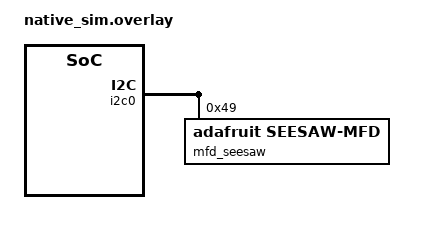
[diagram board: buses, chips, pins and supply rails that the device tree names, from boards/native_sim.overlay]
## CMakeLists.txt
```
cmake_minimum_required(VERSION 3.20.0)
find_package(Zephyr REQUIRED HINTS $ENV{ZEPHYR_BASE})
project(device)

FILE(GLOB app_sources src/*.c)
target_sources(app PRIVATE ${app_sources})

zephyr_include_directories(./src)
zephyr_include_directories(${ZEPHYR_DRIVERS_REPO_ROOT}/drivers/mfd/seesaw)
```

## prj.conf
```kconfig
CONFIG_ZTEST=y
CONFIG_EMUL=y

CONFIG_I2C_EMUL=y
CONFIG_I2C_LOG_LEVEL_DBG=y

CONFIG_CBPRINTF_FP_SUPPORT=y
```

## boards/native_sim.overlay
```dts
#include <zephyr/dt-bindings/led/led.h>

&i2c0 {
	status = "okay";

	mfd_seesaw: seesaw@49 {
		compatible = "adafruit,seesaw-mfd";
		reg = <0x49>;
		read-delay-us = <0>;
		status = "okay";

		gpio_child: gpio {
			compatible = "adafruit,seesaw-gpio";
			gpio-controller;
			#gpio-cells = <2>;
			ngpios = <16>;
		};

		adc_child: adc {
			compatible = "adafruit,seesaw-adc";
			#io-channel-cells = <1>;
		};

		pwm_child: pwm {
			compatible = "adafruit,seesaw-pwm";
			#pwm-cells = <3>;
		};

		led_child: neopixel {
			compatible = "adafruit,seesaw-neopixel";
			chain-length = <4>;
			color-mapping = <LED_COLOR_ID_GREEN LED_COLOR_ID_RED LED_COLOR_ID_BLUE>;
			seesaw-pin = <14>;
			frequency = <800000>;
		};

		encoder_child: encoder {
			compatible = "adafruit,seesaw-encoder";
		};
	};
};
```

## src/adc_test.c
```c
#ifdef CONFIG_ADC_ADAFRUIT_SEESAW

#include <zephyr/device.h>
#include <zephyr/drivers/adc.h>
#include <zephyr/drivers/emul.h>
#include <zephyr/ztest.h>

#include "seesaw_emul.h"

#define ADC_NODE DT_NODELABEL(adc_child)

static const struct device *const adc_dev = DEVICE_DT_GET(ADC_NODE);

ZTEST(adc_seesaw, test_ready)
{
	zassert_true(device_is_ready(adc_dev));
}

ZTEST(adc_seesaw, test_channel_setup_accepts_in_range)
{
	struct adc_channel_cfg cfg = {
		.gain = ADC_GAIN_1,
		.reference = ADC_REF_INTERNAL,
		.acquisition_time = ADC_ACQ_TIME_DEFAULT,
		.channel_id = 0,
	};

	zassert_ok(adc_channel_setup(adc_dev, &cfg));
	cfg.channel_id = 18;
	zassert_ok(adc_channel_setup(adc_dev, &cfg));
	/* channel_id is a 5-bit field (0..31); verify the maximum fits */
	cfg.channel_id = 31;
	zassert_ok(adc_channel_setup(adc_dev, &cfg));
}

ZTEST(adc_seesaw, test_channel_setup_rejects_differential)
{
	struct adc_channel_cfg cfg = {
		.gain = ADC_GAIN_1,
		.reference = ADC_REF_INTERNAL,
		.acquisition_time = ADC_ACQ_TIME_DEFAULT,
		.channel_id = 0,
		.differential = 1,
	};

	zassert_equal(adc_channel_setup(adc_dev, &cfg), -ENOTSUP);
}

ZTEST(adc_seesaw, test_read_returns_seeded_value)
{
	const struct emul *target = EMUL_DT_GET(DT_PARENT(ADC_NODE));
	struct adc_channel_cfg cfg = {
		.gain = ADC_GAIN_1,
		.reference = ADC_REF_INTERNAL,
		.acquisition_time = ADC_ACQ_TIME_DEFAULT,
		.channel_id = 3,
	};

	zassert_not_null(target);
	zassert_ok(adc_channel_setup(adc_dev, &cfg));

	/* SAMD09: logical channel 3 (pin 5) -> reg = ADC_BASE(0x09) | (0x07+3) = 0x090A. */
	zassert_ok(mfd_seesaw_mock_set_register(target->data, (0x09 << 8) | (0x07 + 3), 0x02AB));

	uint16_t sample = 0;
	const struct adc_sequence seq = {
		.channels = BIT(3),
		.buffer = &sample,
		.buffer_size = sizeof(sample),
		.resolution = 10,
	};

	zassert_ok(adc_read(adc_dev, &seq));
	zassert_equal(sample, 0x02AB, "expected 0x02AB, got 0x%04x", sample);
}

/* The SAMD09 firmware indexes its ADC result registers by ADC input (0..3),
 * not by GPIO pin (2..5): Adafruit_seesaw::analogRead() maps pin 2 to offset
 * 0. Reading OFFSET + pin returns another input's (or no) sample.
 */
ZTEST(adc_seesaw, test_samd09_channel_is_register_offset)
{
	const struct emul *target = EMUL_DT_GET(DT_PARENT(ADC_NODE));
	struct adc_channel_cfg cfg = {
		.gain = ADC_GAIN_1,
		.reference = ADC_REF_INTERNAL,
		.acquisition_time = ADC_ACQ_TIME_DEFAULT,
		.channel_id = 0,
	};

	zassert_ok(adc_channel_setup(adc_dev, &cfg));
	zassert_ok(mfd_seesaw_mock_set_register(target->data, (0x09 << 8) | (0x07 + 0), 0x0111));
	zassert_ok(mfd_seesaw_mock_set_register(target->data, (0x09 << 8) | (0x07 + 2), 0x0222));

	uint16_t sample = 0;
	const struct adc_sequence seq = {
		.channels = BIT(0),
		.buffer = &sample,
		.buffer_size = sizeof(sample),
		.resolution = 10,
	};

	zassert_ok(adc_read(adc_dev, &seq));
	zassert_equal(sample, 0x0111, "expected input 0's sample 0x0111, got 0x%04x", sample);
}

ZTEST(adc_seesaw, test_high_channel_id_not_truncated)
{
	struct adc_channel_cfg cfg = {
		.gain = ADC_GAIN_1,
		.reference = ADC_REF_INTERNAL,
		.acquisition_time = ADC_ACQ_TIME_DEFAULT,
		.channel_id = 18,
	};

	zassert_ok(adc_channel_setup(adc_dev, &cfg));

	uint16_t sample = 0;
	const struct adc_sequence seq = {
		.channels = BIT(18),
		.buffer = &sample,
		.buffer_size = sizeof(sample),
		.resolution = 10,
	};
	/* On the SAMD09 emul, channel 18 has no pin mapping, so the underlying
	 * read returns -EINVAL. With the uint32_t fix, this error propagates
	 * back to the caller. With the old uint8_t bug, BIT(18) was truncated
	 * to 0 and adc_read returned 0 with sample == 0.
	 */
	int ret = adc_read(adc_dev, &seq);

	zassert_equal(ret, -EINVAL,
		      "expected -EINVAL from chan 18 on SAMD09, got %d (sample=0x%04x)", ret,
		      sample);
}

ZTEST_SUITE(adc_seesaw, NULL, NULL, NULL, NULL, NULL);

#endif /* CONFIG_ADC_ADAFRUIT_SEESAW */
```

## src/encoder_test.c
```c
#ifdef CONFIG_ADAFRUIT_SEESAW_ENCODER

#include <zephyr/device.h>
#include <zephyr/drivers/emul.h>
#include <zephyr/drivers/sensor.h>
#include <zephyr/ztest.h>

#include "seesaw_emul.h"

#define ENC_NODE DT_NODELABEL(encoder_child)

static const struct device *const enc = DEVICE_DT_GET(ENC_NODE);

ZTEST(seesaw_encoder, test_ready)
{
	zassert_true(device_is_ready(enc));
}

ZTEST(seesaw_encoder, test_fetch_and_get_seeded_position)
{
	const struct emul *target = EMUL_DT_GET(DT_PARENT(ENC_NODE));
	struct sensor_value v;

	zassert_not_null(target);

	/* Seed the encoder position register with a signed value (e.g. -42). */
	zassert_ok(mfd_seesaw_mock_set_register(
		target->data, (0x11 << 8) | 0x04 /* ENCODER_BASE, POSITION */, (uint32_t)-42));

	zassert_ok(sensor_sample_fetch(enc));
	zassert_ok(sensor_channel_get(enc, SENSOR_CHAN_ROTATION, &v));
	zassert_equal(v.val1, -42, "expected position -42, got %d", v.val1);
	zassert_equal(v.val2, 0);
}

ZTEST(seesaw_encoder, test_fetch_and_get_positive_position)
{
	const struct emul *target = EMUL_DT_GET(DT_PARENT(ENC_NODE));
	struct sensor_value v;

	zassert_not_null(target);

	zassert_ok(mfd_seesaw_mock_set_register(
		target->data, (0x11 << 8) | 0x04 /* ENCODER_BASE, POSITION */, 1234U));

	zassert_ok(sensor_sample_fetch(enc));
	zassert_ok(sensor_channel_get(enc, SENSOR_CHAN_ROTATION, &v));
	zassert_equal(v.val1, 1234, "expected position 1234, got %d", v.val1);
	zassert_equal(v.val2, 0);
}

ZTEST(seesaw_encoder, test_sample_fetch_rejects_unsupported_chan)
{
	zassert_equal(sensor_sample_fetch_chan(enc, SENSOR_CHAN_AMBIENT_TEMP), -ENOTSUP);
}

ZTEST(seesaw_encoder, test_channel_get_rejects_other_channels)
{
	struct sensor_value v;
	zassert_ok(sensor_sample_fetch(enc));
	zassert_equal(sensor_channel_get(enc, SENSOR_CHAN_AMBIENT_TEMP, &v), -ENOTSUP);
}

ZTEST_SUITE(seesaw_encoder, NULL, NULL, NULL, NULL, NULL);

#endif /* CONFIG_ADAFRUIT_SEESAW_ENCODER */
```

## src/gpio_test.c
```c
#ifdef CONFIG_GPIO_ADAFRUIT_SEESAW

#include <zephyr/device.h>
#include <zephyr/drivers/emul.h>
#include <zephyr/drivers/gpio.h>
#include <zephyr/ztest.h>

#include "seesaw_emul.h"

#define GPIO_NODE DT_NODELABEL(gpio_child)

static const struct device *const gpio = DEVICE_DT_GET(GPIO_NODE);

ZTEST(gpio_seesaw, test_ready)
{
	zassert_true(device_is_ready(gpio));
}

ZTEST(gpio_seesaw, test_configure_output)
{
	zassert_ok(gpio_pin_configure(gpio, 4, GPIO_OUTPUT_INACTIVE));
}

ZTEST(gpio_seesaw, test_set_clear_propagates_to_emul)
{
	const struct emul *target = EMUL_DT_GET(DT_PARENT(GPIO_NODE));
	uint32_t reg_val = 0;

	zassert_not_null(target);
	zassert_ok(gpio_pin_configure(gpio, 4, GPIO_OUTPUT_INACTIVE));

	/* Set pin high → writes BIT(4) to BULK_SET. */
	zassert_ok(gpio_pin_set(gpio, 4, 1));
	zassert_ok(mfd_seesaw_mock_get_register(
		target->data, (0x01 << 8) | 0x05 /* GPIO_BASE,BULK_SET */, &reg_val));
	zassert_equal(reg_val, BIT(4), "BULK_SET register did not contain BIT(4); got 0x%08x",
		      reg_val);

	/* Clear pin → writes BIT(4) to BULK_CLR. */
	zassert_ok(gpio_pin_set(gpio, 4, 0));
	zassert_ok(mfd_seesaw_mock_get_register(
		target->data, (0x01 << 8) | 0x06 /* GPIO_BASE,BULK_CLR */, &reg_val));
	zassert_equal(reg_val, BIT(4), "BULK_CLR register did not contain BIT(4); got 0x%08x",
		      reg_val);
}

ZTEST_SUITE(gpio_seesaw, NULL, NULL, NULL, NULL, NULL);

#endif /* CONFIG_GPIO_ADAFRUIT_SEESAW */
```

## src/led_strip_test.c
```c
#ifdef CONFIG_LED_STRIP_ADAFRUIT_SEESAW

#include <zephyr/device.h>
#include <zephyr/drivers/emul.h>
#include <zephyr/drivers/led_strip.h>
#include <zephyr/ztest.h>

#include "seesaw_emul.h"

#define LED_NODE DT_NODELABEL(led_child)

static const struct device *const led = DEVICE_DT_GET(LED_NODE);

ZTEST(led_strip_seesaw, test_ready)
{
	zassert_true(device_is_ready(led));
}

ZTEST(led_strip_seesaw, test_length)
{
	zassert_equal(led_strip_length(led), 4);
}

ZTEST(led_strip_seesaw, test_init_programmed_speed_pin_and_length)
{
	const struct emul *target = EMUL_DT_GET(DT_PARENT(LED_NODE));
	uint32_t reg_val = 0;

	zassert_not_null(target);

	/* SPEED: 1 for 800 kHz. */
	zassert_ok(mfd_seesaw_mock_get_register(
		target->data, (0x0E << 8) | 0x02 /* NEOPIXEL_BASE, SPEED */, &reg_val));
	zassert_equal(reg_val, 1U, "expected speed=1 (800kHz), got %u", reg_val);

	/* PIN: from overlay, pin 14. */
	zassert_ok(mfd_seesaw_mock_get_register(
		target->data, (0x0E << 8) | 0x01 /* NEOPIXEL_BASE, PIN */, &reg_val));
	zassert_equal(reg_val, 14U, "expected pin=14, got %u", reg_val);

	/* BUF_LENGTH: chain_length * num_colors = 4 * 3 = 12. */
	zassert_ok(mfd_seesaw_mock_get_register(
		target->data, (0x0E << 8) | 0x03 /* NEOPIXEL_BASE, BUF_LENGTH */, &reg_val));
	zassert_equal(reg_val, 12U, "expected buf_length=12, got %u", reg_val);
}

ZTEST(led_strip_seesaw, test_update_rgb_short_chain)
{
	struct led_rgb px[4] = {
		{.r = 0xFFU},
		{.g = 0xFFU},
		{.b = 0xFFU},
		{.r = 0x10U, .g = 0x20U, .b = 0x30U},
	};

	zassert_ok(led_strip_update_rgb(led, px, ARRAY_SIZE(px)));
}

ZTEST_SUITE(led_strip_seesaw, NULL, NULL, NULL, NULL, NULL);

#endif /* CONFIG_LED_STRIP_ADAFRUIT_SEESAW */
```

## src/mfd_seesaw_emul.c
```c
/*
 * Emulator for the Adafruit SeeSaw MFD parent device.
 *
 * The MFD driver (mfd_seesaw.c) performs I2C reads as two separate
 * transactions: a write (register address) followed by a read (data).
 * This emul therefore stores the last-addressed register and serves
 * the value on the subsequent standalone read, unlike the legacy
 * seesaw_emul.c which expects a combined write+read (num_msgs == 2).
 */
#define DT_DRV_COMPAT adafruit_seesaw_mfd

#include <zephyr/device.h>
#include <zephyr/drivers/emul.h>
#include <zephyr/drivers/i2c.h>
#include <zephyr/drivers/i2c_emul.h>
#include <zephyr/logging/log.h>
#include <zephyr/sys/byteorder.h>

#include "mfd_seesaw_regs.h"
#include "seesaw_emul.h"

LOG_MODULE_REGISTER(mfd_seesaw_emul, CONFIG_MFD_ADAFRUIT_SEESAW_LOG_LEVEL);

/* Register ID, size, and value table */
struct mfd_seesaw_reg {
	uint8_t module;
	uint8_t function;
	uint8_t bytes;
	uint32_t value;
};

/* Emulator configuration passed into driver instance */
struct mfd_seesaw_emul_cfg {
	uint16_t addr;
};

struct mfd_seesaw_emul_data {
	struct mfd_seesaw_reg regs[SEESAW_REGISTER_COUNT];
	/* Last register address written (mod<<8 | func), for split write+read */
	int last_reg;
};

static struct mfd_seesaw_reg *mfd_get_register(struct mfd_seesaw_emul_data *data, int reg)
{
	uint8_t mod = reg >> 8;
	uint8_t func = reg & 0xFF;

	for (int i = 0; i < SEESAW_REGISTER_COUNT; i++) {
		if ((data->regs[i].module == mod) && (data->regs[i].function == func)) {
			return &data->regs[i];
		}
	}
	return NULL;
}

int mfd_seesaw_mock_set_register(void *data_ptr, int reg, uint32_t value)
{
	struct mfd_seesaw_reg *reg_ptr = mfd_get_register(data_ptr, reg);

	if (reg_ptr == NULL) {
		return -EINVAL;
	}

	reg_ptr->value = value;
	return 0;
}

int mfd_seesaw_mock_get_register(void *data_ptr, int reg, uint32_t *value_ptr)
{
	struct mfd_seesaw_reg *reg_ptr = mfd_get_register(data_ptr, reg);

	if (reg_ptr == NULL || value_ptr == NULL) {
		return -EINVAL;
	}

	*value_ptr = reg_ptr->value;
	return 0;
}

static int mfd_seesaw_emul_transfer_i2c(const struct emul *target, struct i2c_msg msgs[],
					int num_msgs, int addr)
{
	struct mfd_seesaw_emul_data *data = (struct mfd_seesaw_emul_data *)target->data;

	ARG_UNUSED(addr);

	if (num_msgs == 1 && !(msgs[0].flags & I2C_MSG_READ)) {
		/* Write-only: either a register address setup or a data write. */
		if (msgs[0].len < 2) {
			LOG_ERR("Expected at least 2 bytes (module + function)");
			return -EIO;
		}

		int reg = ((int)msgs[0].buf[0] << 8) | msgs[0].buf[1];
		uint8_t payload_len = msgs[0].len - 2;

		if (payload_len == 0) {
			/* Pure address write — record last_reg for the upcoming read. */
			data->last_reg = reg;
			LOG_DBG("Address write reg %04x", reg);
			return 0;
		}

		/* Data write */
		struct mfd_seesaw_reg *reg_ptr = mfd_get_register(data, reg);

		if (!reg_ptr) {
			LOG_ERR("Invalid register: %04x", reg);
			return -EIO;
		}
		switch (payload_len) {
		case 1:
			reg_ptr->value = (uint32_t)msgs[0].buf[2];
			break;
		case 2:
			reg_ptr->value = (uint32_t)sys_get_be16(&msgs[0].buf[2]);
			break;
		case 3:
			/* 3-byte payload: buf[2] is a sub-channel selector (e.g. pin number
			 * for TIMER_PWM / TIMER_FREQ), buf[3..4] is the 16-bit value.
			 */
			reg_ptr->value = (uint32_t)sys_get_be16(&msgs[0].buf[3]);
			break;
		case 4:
			reg_ptr->value = sys_get_be32(&msgs[0].buf[2]);
			break;
		default:
			LOG_WRN("Unhandled write length %d for reg %04x", payload_len, reg);
			break;
		}
		LOG_DBG("Write reg %04x: %08x", reg, reg_ptr->value);
		return 0;
	}

	if (num_msgs == 1 && (msgs[0].flags & I2C_MSG_READ)) {
		/* Standalone read — serve from last_reg. */
		struct mfd_seesaw_reg *reg_ptr = mfd_get_register(data, data->last_reg);

		if (!reg_ptr) {
			LOG_ERR("Read without prior address write, or invalid reg %04x",
				data->last_reg);
			return -EIO;
		}

		if (msgs[0].len == 1) {
			msgs[0].buf[0] = reg_ptr->value & 0xFF;
			LOG_DBG("Read8 reg %04x: %02x", data->last_reg, reg_ptr->value);
		} else if (msgs[0].len == 2) {
			sys_put_be16(reg_ptr->value, msgs[0].buf);
			LOG_DBG("Read16 reg %04x: %04x", data->last_reg, reg_ptr->value);
		} else if (msgs[0].len == 4) {
			sys_put_be32(reg_ptr->value, msgs[0].buf);
			LOG_DBG("Read32 reg %04x: %08x", data->last_reg, reg_ptr->value);
		} else {
			/* Arbitrary-length read — fill byte-by-byte from the 32-bit value. */
			uint32_t v = reg_ptr->value;

			for (int i = 0; i < msgs[0].len && i < 4; i++) {
				msgs[0].buf[i] = (v >> (8 * (msgs[0].len - 1 - i))) & 0xFF;
			}
			LOG_DBG("Read%d reg %04x: %08x", msgs[0].len, data->last_reg, v);
		}
		return 0;
	}

	LOG_ERR("Unexpected num_msgs=%d", num_msgs);
	return -EIO;
}

static int mfd_seesaw_emul_init(const struct emul *target, const struct device *parent)
{
	ARG_UNUSED(target);
	ARG_UNUSED(parent);

	return 0;
}

static const struct i2c_emul_api mfd_seesaw_emul_api_i2c = {
	.transfer = mfd_seesaw_emul_transfer_i2c,
};

#define MFD_SEESAW_EMUL(n)                                                                         \
	static const struct mfd_seesaw_emul_cfg mfd_seesaw_emul_cfg_##n = {                        \
		.addr = DT_INST_REG_ADDR(n)};                                                      \
	static struct mfd_seesaw_emul_data mfd_seesaw_emul_data_##n = {                            \
		.regs =                                                                            \
			{                                                                          \
				{SEESAW_STATUS_BASE, SEESAW_STATUS_HW_ID, 1,                       \
				 SEESAW_HW_ID_CODE_SAMD09},                                        \
				{SEESAW_STATUS_BASE, SEESAW_STATUS_VERSION, 4, 0x270FD10F},        \
				{SEESAW_STATUS_BASE, SEESAW_STATUS_OPTIONS, 4, 0xFFF07},           \
				{SEESAW_STATUS_BASE, SEESAW_STATUS_SWRST, 1, 0},                   \
				{SEESAW_GPIO_BASE, SEESAW_GPIO_DIRSET_BULK, 4, 0},                 \
				{SEESAW_GPIO_BASE, SEESAW_GPIO_DIRCLR_BULK, 4, 0},                 \
				{SEESAW_GPIO_BASE, SEESAW_GPIO_BULK, 4, 0},                        \
				{SEESAW_GPIO_BASE, SEESAW_GPIO_BULK_SET, 4, 0},                    \
				{SEESAW_GPIO_BASE, SEESAW_GPIO_BULK_CLR, 4, 0},                    \
				{SEESAW_GPIO_BASE, SEESAW_GPIO_BULK_TOGGLE, 4, 0},                 \
				{SEESAW_GPIO_BASE, SEESAW_GPIO_INTENSET, 4, 0},                    \
				{SEESAW_GPIO_BASE, SEESAW_GPIO_INTENCLR, 4, 0},                    \
				{SEESAW_GPIO_BASE, SEESAW_GPIO_INTFLAG, 4, 0},                     \
				{SEESAW_GPIO_BASE, SEESAW_GPIO_PULLENSET, 4, 0},                   \
				{SEESAW_GPIO_BASE, SEESAW_GPIO_PULLENCLR, 4,                       \
				 0}, /* ADC: SAMD09 logical channels 0..3 */                       \
				{SEESAW_ADC_BASE, SEESAW_ADC_CHANNEL_OFFSET + 0, 2, 0},            \
				{SEESAW_ADC_BASE, SEESAW_ADC_CHANNEL_OFFSET + 1, 2, 0},            \
				{SEESAW_ADC_BASE, SEESAW_ADC_CHANNEL_OFFSET + 2, 2, 0},            \
				{SEESAW_ADC_BASE, SEESAW_ADC_CHANNEL_OFFSET + 3, 2,                \
				 0}, /* PWM timer: freq and duty per-pin writes */                 \
				{SEESAW_TIMER_BASE, SEESAW_TIMER_FREQ, 3, 0},                      \
				{SEESAW_TIMER_BASE, SEESAW_TIMER_PWM, 3,                           \
				 0}, /* NeoPixel init registers */                                 \
				{SEESAW_NEOPIXEL_BASE, SEESAW_NEOPIXEL_SPEED, 1, 0},               \
				{SEESAW_NEOPIXEL_BASE, SEESAW_NEOPIXEL_PIN, 1, 0},                 \
				{SEESAW_NEOPIXEL_BASE, SEESAW_NEOPIXEL_BUF_LENGTH, 2, 0},          \
				{SEESAW_NEOPIXEL_BASE, SEESAW_NEOPIXEL_BUF, 2, 0},                 \
				{SEESAW_ENCODER_BASE, SEESAW_ENCODER_POSITION, 4, 0},              \
			},                                                                         \
		.last_reg = -1,                                                                    \
	};                                                                                         \
	EMUL_DT_INST_DEFINE(n, mfd_seesaw_emul_init, &mfd_seesaw_emul_data_##n,                    \
			    &mfd_seesaw_emul_cfg_##n, &mfd_seesaw_emul_api_i2c, NULL)

DT_INST_FOREACH_STATUS_OKAY(MFD_SEESAW_EMUL)
```

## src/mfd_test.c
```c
#include <zephyr/device.h>
#include <zephyr/drivers/mfd/seesaw.h>
#include <zephyr/ztest.h>

#include "mfd_seesaw_regs.h"

#define MFD_NODE DT_NODELABEL(mfd_seesaw)

static const struct device *const mfd = DEVICE_DT_GET(MFD_NODE);

ZTEST(mfd_seesaw, test_device_ready)
{
	zassert_true(device_is_ready(mfd), "MFD parent not ready");
}

ZTEST(mfd_seesaw, test_hw_id_cached)
{
	/* MFD emul seeds STATUS_HW_ID = 0x55 (SAMD09). Probe in init() caches it. */
	zassert_equal(mfd_seesaw_hw_id(mfd), SEESAW_HW_ID_CODE_SAMD09,
		      "expected cached HW ID = 0x%02x, got 0x%02x", SEESAW_HW_ID_CODE_SAMD09,
		      mfd_seesaw_hw_id(mfd));
}

ZTEST(mfd_seesaw, test_options_cached)
{
	uint32_t opts = mfd_seesaw_options(mfd);

	zassert_not_equal(opts, 0, "options bitmap should be non-zero (defaulted by emul)");
}

ZTEST(mfd_seesaw, test_register_write_read_roundtrip)
{
	uint8_t wbuf[2] = {0xAB, 0xCD};
	uint8_t rbuf[2] = {0};

	zassert_ok(
		mfd_seesaw_write(mfd, SEESAW_GPIO_BASE, SEESAW_GPIO_BULK_SET, wbuf, sizeof(wbuf)),
		"write failed");
	zassert_ok(
		mfd_seesaw_read(mfd, SEESAW_GPIO_BASE, SEESAW_GPIO_BULK_SET, rbuf, sizeof(rbuf), 0),
		"read failed");
	zassert_mem_equal(rbuf, wbuf, sizeof(wbuf), "roundtrip mismatch");
}

ZTEST_SUITE(mfd_seesaw, NULL, NULL, NULL, NULL, NULL);
```

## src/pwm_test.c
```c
#ifdef CONFIG_PWM_ADAFRUIT_SEESAW

#include <zephyr/device.h>
#include <zephyr/drivers/emul.h>
#include <zephyr/drivers/pwm.h>
#include <zephyr/ztest.h>

#include "seesaw_emul.h"

#define PWM_NODE DT_NODELABEL(pwm_child)

static const struct device *const pwm = DEVICE_DT_GET(PWM_NODE);

ZTEST(pwm_seesaw, test_ready)
{
	zassert_true(device_is_ready(pwm));
}

ZTEST(pwm_seesaw, test_cycles_per_sec)
{
	uint64_t cps = 0;

	zassert_ok(pwm_get_cycles_per_sec(pwm, 0, &cps));
	zassert_equal(cps, 1000000ULL);
}

ZTEST(pwm_seesaw, test_set_cycles_writes_freq_and_duty)
{
	const struct emul *target = EMUL_DT_GET(DT_PARENT(PWM_NODE));
	uint32_t reg_val = 0;

	zassert_not_null(target);

	/* 1 ms period, 500 us pulse = 50% duty at 1 kHz. */
	zassert_ok(pwm_set_cycles(pwm, 4, 1000, 500, 0));

	/* The driver writes a 3-byte payload: [channel, freq_be16].
	 * The emul stores the 2-byte value portion (bytes[3..4] after the
	 * module+function prefix). Verify TIMER_FREQ was written correctly.
	 */
	zassert_ok(mfd_seesaw_mock_get_register(
		target->data, (0x08 << 8) | 0x02 /* TIMER_BASE, TIMER_FREQ */, &reg_val));
	zassert_equal(reg_val, 1000U, "expected freq=1000 Hz, got %u", reg_val);

	zassert_ok(mfd_seesaw_mock_get_register(
		target->data, (0x08 << 8) | 0x01 /* TIMER_BASE, TIMER_PWM */, &reg_val));
	/* 500/1000 * 0xFFFF = 0x7FFF (rounded down). */
	zassert_equal(reg_val, 0x7FFFU, "expected duty=0x7FFF, got 0x%x", reg_val);
}

ZTEST(pwm_seesaw, test_zero_period_rejected)
{
	zassert_equal(pwm_set_cycles(pwm, 4, 0, 0, 0), -EINVAL);
}

ZTEST(pwm_seesaw, test_short_period_rejected)
{
	/* period=1 µs → hz=1_000_000 > UINT16_MAX → -EINVAL */
	zassert_equal(pwm_set_cycles(pwm, 4, 1, 0, 0), -EINVAL);
}

ZTEST(pwm_seesaw, test_inverted_polarity_rejected)
{
	zassert_equal(pwm_set_cycles(pwm, 4, 1000, 500, PWM_POLARITY_INVERTED), -ENOTSUP);
}

ZTEST_SUITE(pwm_seesaw, NULL, NULL, NULL, NULL, NULL);

#endif /* CONFIG_PWM_ADAFRUIT_SEESAW */
```

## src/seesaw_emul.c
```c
/*
 * Emulator for the Adafruit SeeSaw device
 */
#define DT_DRV_COMPAT adafruit_seesaw

#include <zephyr/device.h>
#include <zephyr/drivers/emul.h>
#include <zephyr/drivers/i2c_emul.h>
#include <zephyr/drivers/i2c.h>
#include <zephyr/logging/log.h>
#include <zephyr/sys/byteorder.h>
#include <seesaw.h>
#include <seesaw_emul.h>

LOG_MODULE_REGISTER(seesaw_emul, CONFIG_SEESAW_LOG_LEVEL);

// https://github.com/adafruit/seesaw/blob/master/include/RegisterMap.h
/* Register ID, size, and value table */
struct seesaw_reg {
	uint8_t module;
	uint8_t function;
	uint8_t bytes;
	uint32_t value;
};

/* Emulator configuration passed into driver instance */
struct seesaw_emul_cfg {
	uint16_t addr;
};

struct seesaw_emul_data {
	struct seesaw_reg seesaw_regs[SEESAW_REGISTER_COUNT];
};

static struct seesaw_reg *get_register(struct seesaw_emul_data *data, int reg)
{
	uint8_t mod = reg >> 8;
	uint8_t func = reg & 0xFF;
	for (int i = 0; i < SEESAW_REGISTER_COUNT; i++) {
		if ((data->seesaw_regs[i].module == mod) &&
		    (data->seesaw_regs[i].function == func)) {
			return &data->seesaw_regs[i];
		}
	}
	return NULL;
}

int seesaw_mock_set_register(void *data_ptr, int reg, uint32_t value)
{
	struct seesaw_reg *reg_ptr = get_register(data_ptr, reg);

	if (reg_ptr == NULL) {
		return -EINVAL;
	}

	reg_ptr->value = value;
	return 0;
}

int seesaw_mock_get_register(void *data_ptr, int reg, uint32_t *value_ptr)
{
	struct seesaw_reg *reg_ptr = get_register(data_ptr, reg);

	if (reg_ptr == NULL || value_ptr == NULL) {
		return -EINVAL;
	}

	*value_ptr = reg_ptr->value;
	return 0;
}

static int seesaw_emul_transfer_i2c(const struct emul *target, struct i2c_msg msgs[], int num_msgs,
				    int addr)
{
	struct seesaw_emul_data *data = (struct seesaw_emul_data *)target->data;

	if (msgs[0].flags & I2C_MSG_READ) {
		LOG_ERR("Expected write");
		return -EIO;
	}

	if (num_msgs == 1) {
		/* seesaw_write */
		if (msgs[0].len < 3) {
			LOG_ERR("Expected at least 3 bytes");
			return -EIO;
		}

		int reg = sys_get_be16(&msgs[0].buf[0]);
		uint8_t len = msgs[0].len - 2;

		struct seesaw_reg *reg_ptr = get_register(data, reg);

		if (!reg_ptr) {
			LOG_ERR("Invalid register: %04x", reg);
			return -EIO;
		}

		if (len != reg_ptr->bytes) {
			LOG_ERR("Unexpected number of bytes to write: %02x", len);
			return -EIO;
		}

		switch (len) {
		case 1:
			reg_ptr->value = (uint32_t)msgs[0].buf[2];
			break;
		case 2:
			reg_ptr->value = (uint32_t)sys_get_be16(&msgs[0].buf[2]);
			break;
		case 4:
			reg_ptr->value = sys_get_be32(&msgs[0].buf[2]);
			break;
		default:
			break;
		}

		LOG_DBG("Write reg %02x: %04x", reg, reg_ptr->value);
	} else {
		/* seesaw_write */
		if ((msgs[1].flags & I2C_MSG_READ) == I2C_MSG_WRITE) {
			LOG_ERR("Expected read");
			return -EIO;
		}
		uint8_t reg = sys_get_be16(&msgs[0].buf[0]);

		struct seesaw_reg *reg_ptr = get_register(data, reg);

		if (!reg_ptr) {
			LOG_ERR("Invalid register: %04x", reg);
			return -EIO;
		}

		if (msgs[1].len == 1) {
			msgs[1].buf[0] = reg_ptr->value & 0x0F;
			LOG_DBG("Read8 reg %04x: %02x", reg, reg_ptr->value);
		} else if (msgs[1].len == 2) {
			sys_put_be16(reg_ptr->value, msgs[1].buf);
			LOG_DBG("Read16 reg %04x: %04x", reg, reg_ptr->value);
		} else if (msgs[1].len == 4) {
			sys_put_be32(reg_ptr->value, msgs[1].buf);
			LOG_DBG("Read32 reg %04x: %08x", reg, reg_ptr->value);
		} else {
			LOG_ERR("Invalid read length: %d", msgs[1].len);
			return -EIO;
		}
	}

	return 0;
}

static int seesaw_emul_init(const struct emul *target, const struct device *parent)
{
	ARG_UNUSED(target);
	ARG_UNUSED(parent);

	return 0;
}

static const struct i2c_emul_api seesaw_emul_api_i2c = {
	.transfer = seesaw_emul_transfer_i2c,
};

#define SEESAW_EMUL(n)                                                                             \
	static const struct seesaw_emul_cfg seesaw_emul_cfg_##n = {.addr = DT_INST_REG_ADDR(n)};   \
	static struct seesaw_emul_data seesaw_emul_data_##n = {                                    \
		.seesaw_regs = {                                                                   \
			{SEESAW_STATUS_BASE, SEESAW_STATUS_HW_ID, 1, SEESAW_HW_ID_CODE_SAMD09},    \
			{SEESAW_STATUS_BASE, SEESAW_STATUS_VERSION, 4, 0x270FD10F},                \
			{SEESAW_STATUS_BASE, SEESAW_STATUS_OPTIONS, 4, 0xFFF07},                   \
			{SEESAW_STATUS_BASE, SEESAW_STATUS_SWRST, 1, 0},                           \
			{SEESAW_GPIO_BASE, SEESAW_GPIO_DIRSET_BULK, 4, 0},                         \
			{SEESAW_GPIO_BASE, SEESAW_GPIO_DIRCLR_BULK, 4, 0},                         \
			{SEESAW_GPIO_BASE, SEESAW_GPIO_BULK, 4, 0},                                \
			{SEESAW_GPIO_BASE, SEESAW_GPIO_BULK_SET, 4, 0},                            \
			{SEESAW_GPIO_BASE, SEESAW_GPIO_BULK_CLR, 4, 0},                            \
			{SEESAW_GPIO_BASE, SEESAW_GPIO_BULK_TOGGLE, 4, 0},                         \
			{SEESAW_GPIO_BASE, SEESAW_GPIO_INTENSET, 4, 0},                            \
			{SEESAW_GPIO_BASE, SEESAW_GPIO_INTENCLR, 4, 0},                            \
			{SEESAW_GPIO_BASE, SEESAW_GPIO_INTFLAG, 4, 0},                             \
			{SEESAW_GPIO_BASE, SEESAW_GPIO_PULLENSET, 4, 0},                           \
			{SEESAW_GPIO_BASE, SEESAW_GPIO_PULLENCLR, 4, 0},                           \
		}};                                                                                \
	EMUL_DT_INST_DEFINE(n, seesaw_emul_init, &seesaw_emul_data_##n, &seesaw_emul_cfg_##n,      \
			    &seesaw_emul_api_i2c, NULL)

DT_INST_FOREACH_STATUS_OKAY(SEESAW_EMUL)
```

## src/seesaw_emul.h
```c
#ifndef SEESAW_EMUL_H_
#define SEESAW_EMUL_H_

#define SEESAW_REGISTER_COUNT 26

int mfd_seesaw_mock_set_register(void *data_ptr, int reg, uint32_t value);
int mfd_seesaw_mock_get_register(void *data_ptr, int reg, uint32_t *value_ptr);

#endif /* SEESAW_EMUL_H_ */
```

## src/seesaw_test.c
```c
#include <zephyr/device.h>
#include <zephyr/devicetree.h>
#include <zephyr/drivers/emul.h>
#include <zephyr/drivers/i2c_emul.h>
#include <zephyr/fff.h>
#include <zephyr/ztest.h>

#include <seesaw.h>
#include <seesaw_emul.h>

#define NODE DT_NODELABEL(seesaw)

DEFINE_FFF_GLOBALS;

struct seesaw_fixture {
	const struct device *dev;
	const struct emul *target;
};

static void *seesaw_setup(void)
{
	static struct seesaw_fixture fixture = {
		.dev = DEVICE_DT_GET(DT_NODELABEL(seesaw)),
		.target = EMUL_DT_GET(DT_NODELABEL(seesaw)),
	};

	zassert_not_null(fixture.dev);
	zassert_not_null(fixture.target);
	return &fixture;
}

ZTEST_SUITE(seesaw, NULL, seesaw_setup, NULL, NULL, NULL);

ZTEST_F(seesaw, test_default_config)
{
	uint32_t options = 0;
	uint16_t reg = SEESAW_STATUS_BASE << 8 | SEESAW_STATUS_OPTIONS;

	zassert_ok(seesaw_mock_get_register(fixture->target->data, reg, &options));
	zassert_equal(0xFFF07, options);
}

ZTEST_F(seesaw, test_setup_gpios)
{
	uint32_t data = 0;
	uint16_t reg = SEESAW_GPIO_BASE << 8 | SEESAW_GPIO_DIRCLR_BULK;

	zassert_ok(seesaw_write_pin_mode(fixture->dev, NEOKEY_1X4_BUTTONMASK, SEESAW_INPUT_PULLUP));

	// All the registers we expect to set are correct
	zassert_ok(seesaw_mock_get_register(fixture->target->data, reg, &data));
	zassert_equal(NEOKEY_1X4_BUTTONMASK, data);

	reg = SEESAW_GPIO_BASE << 8 | SEESAW_GPIO_PULLENSET;
	zassert_ok(seesaw_mock_get_register(fixture->target->data, reg, &data));
	zassert_equal(NEOKEY_1X4_BUTTONMASK, data);

	reg = SEESAW_GPIO_BASE << 8 | SEESAW_GPIO_BULK_SET;
	zassert_ok(seesaw_mock_get_register(fixture->target->data, reg, &data));
	zassert_equal(NEOKEY_1X4_BUTTONMASK, data);

	// Check that another register we did not want to set remains in it's default state
	reg = SEESAW_GPIO_BASE << 8 | SEESAW_GPIO_DIRSET_BULK;
	zassert_ok(seesaw_mock_get_register(fixture->target->data, reg, &data));
	zassert_equal(0, data);
}
```
